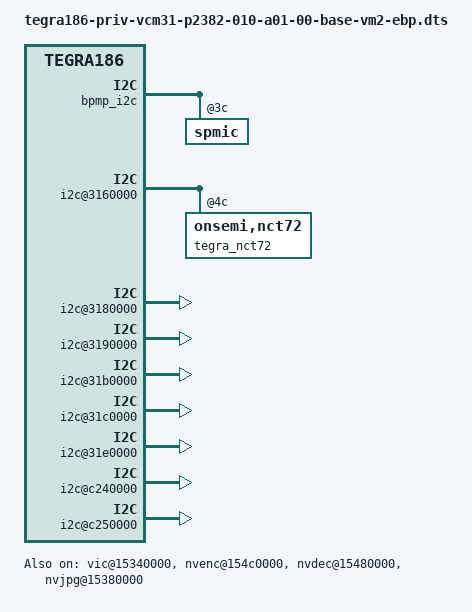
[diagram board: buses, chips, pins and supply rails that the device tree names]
/*
 * tegra186-priv-vcm31-p2382-010-a01-00-base-vm2.dts: P2382(sunstreaker) base vm2 dts
 * file
 *
 * Copyright (c) 2015 - 2016, NVIDIA CORPORATION.  All rights reserved.
 *
 * This program is free software; you can redistribute it and/or modify
 * it under the terms of the GNU General Public License as published by
 * the Free Software Foundation; version 2 of the License.
 *
 * This program is distributed in the hope that it will be useful, but WITHOUT
 * ANY WARRANTY; without even the implied warranty of MERCHANTABILITY or
 * FITNESS FOR A PARTICULAR PURPOSE.  See the GNU General Public License for
 * more details.
 */

#include "tegra186-platforms/tegra186-vcm31-p2382-common.dtsi"
#include "tegra186-platforms/tegra186-vcm31-p2382-disp.dtsi"

/ {
	nvidia,dtsfilename = __FILE__;
	nvidia,boardids = "p2382:0010:A01";
	nvidia,proc-boardid = "p2382:0010:A01";

	tegra_hv: hyp {
		compatible = "nvidia,tegra-hv";
		status = "okay";
	};

	chosen {
		nvidia,tegra-hypervisor-mode;
		bootargs = "mem=512M@2048M quiet loglevel=3 clk_ignore_unused rootfstype=ramfs maxcpus=1 console=ttyS0,115200 earlycon=uart8250,mmio32,0x3110000";
	};

	reserved-memory {
		ivm0: carveout0 {
			status = "okay";
			compatible = "nvidia,ivm_carveout";
			reg = <0x0 0x70c00000 0x0 0x04c00000>;
			ivm = <&tegra_hv 0>;
			alloc = <0>;
			no-map;
		};

		vpr: vpr-carveout {
			size = <0x0 0x0>;
			status = "disabled";
		};
	};

	tegra-carveouts {
		status = "okay";
		memory-region = <&ivm0>;
	};

	mc_sid@2c00000 {
		nvidia,by-pass-smmu-streamid = <0x7d>;
		status = "okay";
	};

	mailbox@3538000 {
		status = "disabled";
	};

	xhci@3530000 {
		status = "disabled";
	};


	sdhci@3400000 { /* Used for SDCard */
		/delete-property/ vddio_sdmmc-supply;
		/delete-property/ vddio_sd_slot-supply;
		status = "disabled";
	};

	sdhci@3420000 { /* Should be used for eMMC. HS400 mode is not supported */
		status = "disabled";
	};

	sdhci@3460000 {
		status = "disabled";
	};

	fixed-regulators {
		regulator@4 {
			status = "disabled";
		};
	};

	xudc@3550000 {
		status = "disabled";
	};

	pinctrl@3520000 {
		status = "disabled";
	};

	power-domain {
		host-pd {
			compatible = "nvidia,tegra186-host1x-pd-hv";
		};
	};

	host1x: host1x {
		compatible = "nvidia,tegra186-host1x-hv", "simple-bus";
		reg = <0x0 0x13e20000 0x0 0x00010000>;
		interrupts = <0 266 0x04
					0 263 0x04>;
		nvidia,vmid = <2>;

		nvidia,ch-base = <32>;
		nvidia,nb-channels = <31>;

		nvidia,nb-hw-pts = <576>;
		nvidia,pts-base = <288>;
		nvidia,nb-pts = <288>;

		vmserver-owns-engines = <1>;

		ivc-queue0 = <&tegra_hv 47>;

		ctx0 {
			status = "disabled";
		};

		ctx1 {
			status = "disabled";
		};

		ctx2 {
			status = "disabled";
		};

		ctx3 {
			status = "disabled";
		};

		ctx4 {
			status = "okay";
		};

		ctx5 {
			status = "okay";
		};

		ctx6 {
			status = "okay";
		};

		ctx7 {
			status = "okay";
		};

		nvcsi@150c0000 {
			status = "disabled";
		};

		vi@15700000 {
			status = "disabled";
		};

		isp@15600000 {
			status = "disabled";
		};

		vii2c@156c0000 {
			status = "disabled";
		};

		vic@15340000 {
				compatible = "nvidia,tegra186-vhost-vic";
			status = "okay";
		};

		nvenc@154c0000 {
			compatible = "nvidia,tegra186-vhost-nvenc";
			status = "okay";
		};

		nvdec@15480000 {
			compatible = "nvidia,tegra186-vhost-nvdec";
			status = "okay";
		};

		nvjpg@15380000 {
			compatible = "nvidia,tegra186-vhost-nvjpg";
			status = "okay";
		};

		tsec@15500000 {
			status = "disabled";
		};

		tsecb@15100000 {
			status = "disabled";
		};

		se@15810000 {
			status = "disabled";
		};

		se@15820000 {
			status = "disabled";
		};

		se@15830000 {
			status = "disabled";
		};

		se@15840000 {
			status = "disabled";
		};
	};

	gp10b {
		status = "disabled";
	};

	interrupt-controller@3000000 {
		compatible = "arm,cortex-a15-gic-none";
		status = "disabled";
	};

	se_elp@3ad0000 {
		status = "disabled";
	};

	spi@3270000 {
		status = "disabled";
	};

	spi@3210000 {
		status = "disabled";
	};

	spi@c260000 {
		status = "disabled";
	};

	spi@3230000 {
		status = "disabled";
	};

	spi@3240000 {
		status = "disabled";
	};

        ether_qos@2490000 {
		status = "disabled";
        };

        ether_qos_virt_test@2490000 {
		status = "disabled";
        };

	tegra-hsp@3c00000 {
		compatible = "nvidia,tegra186-hsp-none";
		status = "disabled";
	};

	chipid@100000 {
		status = "disabled";
	};

	bpmp {
		compatible = "nvidia,tegra186-bpmp-hv";
		ivc_queue = <&tegra_hv 14 14>;
		status = "okay";

		bpmpthermal {
			status = "disabled";
		};
	};

	bpmp_i2c {
                spmic: spmic@3c {
			/delete-property/ maxim,enable-sleep;
			/delete-node/ backup-battery;
			/delete-node/ fps;
			regulators {
				/delete-node/ sd0;
				/delete-node/ sd1;
				/delete-node/ sd2;
				/delete-node/ sd3;
				/delete-node/ sd4;
				/delete-node/ ldo0;
				/delete-node/ ldo1;
				/delete-node/ ldo2;
				/delete-node/ ldo3;
				/delete-node/ ldo4;
				/delete-node/ ldo6;
				/delete-node/ ldo7;
				/delete-node/ ldo8;
			};
		};
	};

	serial@3100000 {
		status = "disabled";
	};

	serial@c280000 {
		status = "disabled";
	};

	serial@3130000 {
		status = "disabled";
	};

	serial@3140000 {
		status = "disabled";
	};

	serial@3150000 {
		status = "disabled";
	};

	serial@c290000 {
		status = "disabled";
	};

	isc-mgr.0 {
		status = "disabled";
	};

	isc-mgr.1 {
		status = "disabled";
	};

	i2c@3160000 {
		compatible = "nvidia,tegra186-i2c-hv";
		ivc_queue = <&tegra_hv 54>;
		status = "okay";
		tegra_nct72: onsemi,nct72@4c {
			/delete-property/ interrupt-parent;
			/delete-property/ interrupts;
			/delete-property/ temp-alert-gpio;
		};
		tmpm32xi2c@61 {
			status = "disabled";
		};
	};

	i2c@3180000 {
		compatible = "nvidia,tegra186-i2c-hv";
		ivc_queue = <&tegra_hv 54>;
		status = "okay";
	};

	i2c@3190000 {
		status = "okay";
	};

	i2c@31b0000 {
		status = "okay";
	};

	i2c@31c0000 {
		compatible = "nvidia,tegra186-i2c-hv";
		ivc_queue = <&tegra_hv 54>;
		status = "okay";
	};

	i2c@31e0000 {
		compatible = "nvidia,tegra186-i2c-hv";
		ivc_queue = <&tegra_hv 54>;
		status = "okay";
	};

	i2c@c240000 {
		compatible = "nvidia,tegra186-i2c-hv";
		ivc_queue = <&tegra_hv 54>;
		status = "okay";
	};

	i2c@c250000 {
		compatible = "nvidia,tegra186-i2c-hv";
		ivc_queue = <&tegra_hv 54>;
		status = "okay";
	};

	ahci-sata@3507000 {
		status = "disabled";
	};

	pcie-controller@10003000 {
		status = "disabled";

		pci@1,0 {
			status = "disabled";
		};

		pci@2,0 {
			status = "disabled";
		};

		pci@3,0 {
			status = "disabled";
		};

	};

	agic-controller@2a41000 {
		status = "disabled";
	};

	adsp@2993000 {
		status = "disabled";
	};

	clocks {
	     clk32k_in@0 {
		status = "disabled";
	     };
	};

	mttcan@c310000 {
		status = "disabled";
	};

	mttcan@c320000 {
		status = "disabled";
	};

	cpuidle {
		compatible = "nvidia,tegra18x-cpuidle";
		status = "disabled";
	};

	ast@b040000 {
		status = "disabled";
	};

	ast@b050000 {
		status = "disabled";
	};

	ast@c040000 {
		status = "disabled";
	};

	ast@c050000 {
		status = "disabled";
	};

	tegra_edvd@e070000 {
		status = "disabled";
	};

	aon@c160000 {
		status = "disabled";
	};

	tachometer@39c0000 {
		status = "disabled";
	};

	tegra_hv_net {
		compatible = "nvidia,tegra-hv-net";
		status = "okay";
		ivc = <&tegra_hv 28>;
	};

	tegra_hv_wdt {
		compatible = "nvidia,tegra-hv-wdt";
		status = "okay";
		ivc = <&tegra_hv 52>;
	};

	tegra_arm_wdt:watchdog@30d0000 {
		status = "disabled";
	};

	pmc@c370000 {
		status = "disabled";
	};

	generic-system-config {
		status = "dislabled";
	};

	dma@2600000 {
		dma-channels = <16>;
		nvidia,start-dma-channel-index = <16>;
		nvidia,stream-id = <TEGRA_SID_GPCDMA_1>;
		status = "okay";
	};

	intc: interrupt-controller@3881000 {
		reg = <0x0 0x03881000 0x0 0x00001000
		       0x0 0x03892000 0x0 0x00002000>;
	};

	adma@2930000 {
		status = "disabled";
	};

	ahub {
		status = "disabled";

		admaif@290f000 {
			status = "disabled";
		};

		sfc@2902000 {
			status = "disabled";
		};

		sfc@2902200 {
			status = "disabled";
		};

		sfc@2902400 {
			status = "disabled";
		};

		sfc@2902600 {
			status = "disabled";
		};

		spkprot@2908c00 {
			status = "disabled";
		};

		amixer@290bb00 {
			status = "disabled";
		};

		i2s@2901000 {
			status = "disabled";
		};

		i2s@2901100 {
			status = "disabled";
		};

		i2s@2901200 {
			status = "disabled";
		};

		i2s@2901300 {
			status = "disabled";
		};

		i2s@2901400 {
			status = "disabled";
		};

		i2s@2901500 {
			status = "disabled";
		};

		amx@2903000 {
			status = "disabled";
		};

		amx@2903100 {
			status = "disabled";
		};

		amx@2903200 {
			status = "disabled";
		};

		amx@2903300 {
			status = "disabled";
		};

		adx@2903800 {
			status = "disabled";
		};

		adx@2903900 {
			status = "disabled";
		};

		adx@2903a00 {
			status = "disabled";
		};

		adx@2903b00 {
			status = "disabled";
		};

		dmic@2904000 {
			status = "disabled";
		};

		dmic@2904100 {
			status = "disabled";
		};

		dmic@2904200 {
			status = "disabled";
		};

		dmic@2904300 {
			status = "disabled";
		};

		afc@2907000 {
			status = "disabled";
		};

		afc@2907100 {
			status = "disabled";
		};

		afc@2907200 {
			status = "disabled";
		};

		afc@2907300 {
			status = "disabled";
		};

		afc@2907400 {
			status = "disabled";
		};

		afc@2907500 {
			status = "disabled";
		};

		mvc@290a000 {
			status = "disabled";
		};

		mvc@290a200 {
			status = "disabled";
		};

		spdif@2906000 {
			status = "disabled";
		};

		iqc@290e000 {
			status = "disabled";
		};

		asrc@2910000 {
			status = "disabled";
		};

		arad@290e400 {
			status = "disabled";
		};

		ope@2908000 {
			status = "disabled";

			peq@2908100 {
				status = "disabled";
			};

			mbdrc@2908200 {
				status = "disabled";
			};
		};

		dspk@2905000 {
			status = "disabled";
		};

		dspk@2905100 {
			status = "disabled";
		};

		spdif-dit.0@0 {
			status = "disabled";
		};

		adx@2903a00 {
			status = "disabled";
		};

		adx@2903b00 {
			status = "disabled";
		};
	};

	spdif-dit.0@0 {
		status = "disabled";
	};

	spdif-dit.1@1 {
		status = "disabled";
	};

	spdif-dit.2@2 {
		status = "disabled";
	};

	spdif-dit.3@3 {
		status = "disabled";
	};

	sound {
		status = "disabled";
	};

	sound_ref {
		status = "disabled";
	};

	vgpu {
		compatible = "nvidia,tegra186-gp10b-vgpu", "nvidia,tegra124-gk20a-vgpu";
		reg = <0x0 0x18000000 0x0 0x1000000>;
		nvidia,host1x = <&host1x>;
		ivc-queue3 = <&tegra_hv 49>;
		ivc-queue4 = <&tegra_hv 50>;
		mempool3 = <&tegra_hv 2>;
	};

	adsp_audio {
		status = "disabled";
	};

	csi_mipical {
		status = "disabled";
	};

	thermal-zones {
		BCPU-therm {
			status = "disabled";
		};

		MCPU-therm {
			status = "disabled";
		};

		GPU-therm {
			status = "disabled";
		};

		PLL-therm {
			status = "disabled";
		};

		AO-therm {
			status = "disabled";
		};

		Tboard_tegra {
			status = "disabled";
		};

		Tdiode_tegra {
			status = "disabled";
		};
	};

	ptm_a57_0: ptm@9840000 {
		status = "disabled";
	};

	ptm_a57_1: ptm@9940000 {
		status = "disabled";
	};

	ptm_a57_2: ptm@9a40000 {
		status = "disabled";
	};

	ptm_a57_3: ptm@9b40000 {
		status = "disabled";
	};

	funnel_bccplex@9010000 {
		status = "disabled";
	};

	funnel_major@8010000 {
		status = "disabled";
	};

	replicator@0x8040000 {
		status = "disabled";
	};

	etf@8030000 {
		status = "disabled";
	};

	tpiu@8060000 {
		status = "disabled";
	};

	watchdog@30c0000 {
		status = "disabled";
	};

	watchdog@30d0000 {
		status = "disabled";
	};

	timer@3020000 {
		status = "disabled";
	};
};
